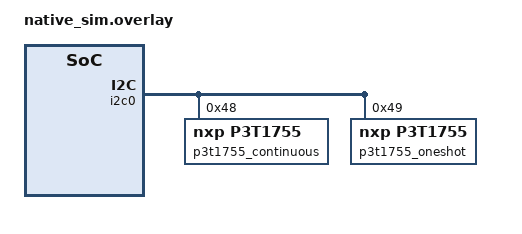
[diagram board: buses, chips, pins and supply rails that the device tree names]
/*
 * Copyright 2026 NXP
 * SPDX-License-Identifier: Apache-2.0
 */

&i2c0 {
	status = "okay";

	p3t1755_continuous: p3t1755@48 {
		compatible = "nxp,p3t1755";
		reg = <0x48>;
	};

	p3t1755_oneshot: p3t1755@49 {
		compatible = "nxp,p3t1755";
		reg = <0x49>;
		oneshot-mode;
	};
};

/ {
	aliases {
		p3t1755 = &p3t1755_continuous;
		p3t1755-oneshot = &p3t1755_oneshot;
	};
};
